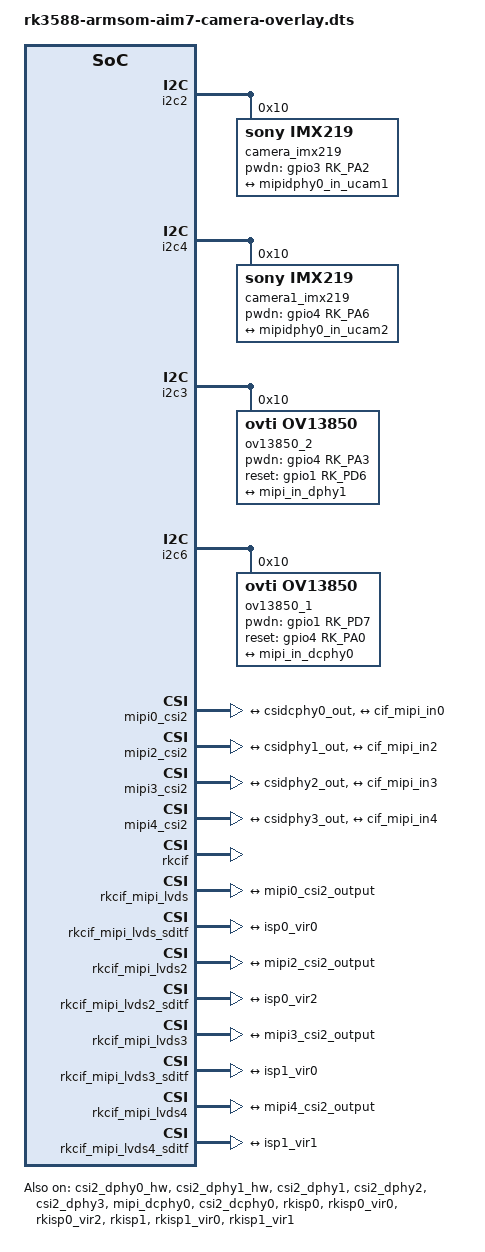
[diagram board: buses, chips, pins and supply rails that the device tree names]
/dts-v1/;
/plugin/;

#include <dt-bindings/clock/rk3588-cru.h>
#include <dt-bindings/power/rk3588-power.h>
#include <dt-bindings/gpio/gpio.h>
#include <dt-bindings/pinctrl/rockchip.h>

/ {
	fragment@0 {
		target = <&i2c2>;
		__overlay__ {
			status = "okay";
			#address-cells = <1>;
			#size-cells = <0>;
			camera_imx219: camera-imx219@10 {
				status = "okay";
				compatible = "sony,imx219";
				reg = <0x10>;
				clocks = <&cru CLK_MIPI_CAMARAOUT_M0>;
				clock-names = "xvclk";
				pinctrl-names = "rockchip,camera_default";
				pinctrl-0 = <&mipim1_camera0_clk>;//gpio3_a5
				// VANA-supply = <&camera_pwdn_gpio>;   /* 2.8v */
				// VDIG-supply = <&camera_pwdn_gpio>;   /* 1.8v */
				// VDDL-supply = <&camera_pwdn_gpio>;   /* 1.2v */

				power-domains = <&power RK3588_PD_VI>;
				pwdn-gpios = <&gpio3 RK_PA2 GPIO_ACTIVE_HIGH>;

				rockchip,camera-module-index = <0>;
				rockchip,camera-module-facing = "back";
				rockchip,camera-module-name = "RADXA-CAMERA-8M";
				rockchip,camera-module-lens-name = "default";

				port {
					imx219_out0: endpoint {
						remote-endpoint = <&mipidphy0_in_ucam1>;
						data-lanes = <1 2>;
						clock-noncontinuous;
						link-frequencies = /bits/ 64 <456000000>;
					};
				};
			};
		};
	};
	
	fragment@1 {
		target = <&i2c4>;
		__overlay__ {
			status = "okay";
			pinctrl-names = "default";
			pinctrl-0 = <&i2c4m2_xfer>;
			#address-cells = <1>;
			#size-cells = <0>;

			camera1_imx219: camera1-imx219@10 {
				status = "okay";
				compatible = "sony,imx219";
				reg = <0x10>;

				clocks = <&cru CLK_MIPI_CAMARAOUT_M1>;
				clock-names = "xvclk";
				pinctrl-names = "rockchip,camera_default";
				pinctrl-0 = <&mipim1_camera1_clk>;//gpio3_a6
				// VANA-supply = <&camera2_pwdn_gpio>;   /* 2.8v */
				// VDIG-supply = <&camera2_pwdn_gpio>;   /* 1.8v */
				// VDDL-supply = <&camera2_pwdn_gpio>;   /* 1.2v */
				power-domains = <&power RK3588_PD_VI>;
				pwdn-gpios = <&gpio4 RK_PA6 GPIO_ACTIVE_HIGH>;

				rockchip,camera-module-index = <1>;
				rockchip,camera-module-facing = "back";
				rockchip,camera-module-name = "RADXA-CAMERA-8M";
				rockchip,camera-module-lens-name = "default";

				port {
					imx219_out1: endpoint {
						remote-endpoint = <&mipidphy0_in_ucam2>;
						data-lanes = <1 2>;
						clock-noncontinuous;
						link-frequencies = /bits/ 64 <456000000>;
					};
				};
			};
		};
	};
	
	fragment@2 {
		target = <&i2c3>;
		__overlay__ {
			status = "okay";
			ov13850_2: ov13850_2@10 {
                #address-cells = <1>;
                #size-cells = <0>;
				status = "okay";
				compatible = "ovti,ov13850";
				reg = <0x10>;
				clocks = <&cru CLK_MIPI_CAMARAOUT_M3>;
				clock-names = "xvclk";
				pinctrl-names = "rockchip,camera_default";
				pinctrl-0 = <&mipim1_camera3_clk>;
				pwdn-gpios = <&gpio4 RK_PA3 GPIO_ACTIVE_HIGH>;
				reset-gpios = <&gpio1 RK_PD6 GPIO_ACTIVE_HIGH>;
				rockchip,camera-module-index = <3>;
				rockchip,camera-module-facing = "back";
				rockchip,camera-module-name = "ZC-OV13850R2A-V1";
				rockchip,camera-module-lens-name = "Largan-50064B31";
				port {
					ov13850_out1: endpoint {
						remote-endpoint = <&mipi_in_dphy1>;
						data-lanes = <1 2 3 4>;
					};
				};
			};
		};
	};
	
	fragment@3 {
		target = <&i2c6>;
		__overlay__ {
            #address-cells = <1>;
            #size-cells = <0>;
			status = "okay";
			pinctrl-names = "default";
			pinctrl-0 = <&i2c6m1_xfer>;
			ov13850_1: ov13850_1@10 {
				status = "okay";
				compatible = "ovti,ov13850";
				reg = <0x10>;
				clocks = <&cru CLK_MIPI_CAMARAOUT_M4>;
				clock-names = "xvclk";
				pinctrl-names = "rockchip,camera_default";
				pinctrl-0 = <&mipim1_camera4_clk>;//gpio3_a6
				pwdn-gpios = <&gpio1 RK_PD7 GPIO_ACTIVE_HIGH>;
				reset-gpios = <&gpio4 RK_PA0 GPIO_ACTIVE_HIGH>;
				rockchip,camera-module-index = <2>;
				rockchip,camera-module-facing = "back";
				rockchip,camera-module-name = "ZC-OV13850R2A-V1";
				rockchip,camera-module-lens-name = "Largan-50064B31";
				port {
					ov13850_out: endpoint {
						remote-endpoint = <&mipi_in_dcphy0>;
						data-lanes = <1 2 3 4>;
					};
				};
			};
		};
	};
	
	fragment@4 {
		target = <&csi2_dphy0_hw>;

		__overlay__ {
			status = "okay";
		};
	};
	
	fragment@5 {
		target = <&csi2_dphy1_hw>;

		__overlay__ {
			status = "okay";
		};
	};
	
	fragment@6 {
		target = <&csi2_dphy1>;

		__overlay__ {
			status = "okay";
			ports {
				#address-cells = <1>;
				#size-cells = <0>;

				port@0 {
					reg = <0>;
					#address-cells = <1>;
					#size-cells = <0>;

					mipidphy0_in_ucam1: endpoint@1 {
						reg = <1>;
						remote-endpoint = <&imx219_out0>;
						data-lanes = <1 2>;
					};
				};

				port@1 {
					reg = <1>;
					#address-cells = <1>;
					#size-cells = <0>;

					csidphy1_out: endpoint@0 {
						reg = <0>;
						remote-endpoint = <&mipi2_csi2_input>;
					};
				};
			};
		};
	};
	
	fragment@7 {
		target = <&csi2_dphy2>;

		__overlay__ {
			status = "okay";
			ports {
				#address-cells = <1>;
				#size-cells = <0>;

				port@0 {
					reg = <0>;
					#address-cells = <1>;
					#size-cells = <0>;

					mipidphy0_in_ucam2: endpoint@1 {
						reg = <1>;
						remote-endpoint = <&imx219_out1>;
						data-lanes = <1 2>;
					};
				};

				port@1 {
					reg = <1>;
					#address-cells = <1>;
					#size-cells = <0>;

					csidphy2_out: endpoint@0 {
						reg = <0>;
						remote-endpoint = <&mipi3_csi2_input>;
					};
				};
			};
		};
	};
	
	fragment@8 {
		target = <&csi2_dphy3>;

		__overlay__ {
			status = "okay";
			ports {
				#address-cells = <1>;
				#size-cells = <0>;

				port@0 {
					reg = <0>;
					#address-cells = <1>;
					#size-cells = <0>;

					mipi_in_dphy1: endpoint@1 {
						reg = <1>;
						remote-endpoint = <&ov13850_out1>;
						data-lanes = <1 2 3 4>;
					};

				};

				port@1 {
					reg = <1>;
					#address-cells = <1>;
					#size-cells = <0>;

					csidphy3_out: endpoint@0 {
						reg = <0>;
						remote-endpoint = <&mipi4_csi2_input>;
					};
				};
			};
		};
	};
	
	fragment@9 {
		target = <&mipi_dcphy0>;

		__overlay__ {
			status = "okay";
			
		};
	};
	
	fragment@10 {
		target = <&csi2_dcphy0>;

		__overlay__ {
			status = "okay";
			ports {
				#address-cells = <1>;
				#size-cells = <0>;
				port@0 {
					reg = <0>;
					#address-cells = <1>;
					#size-cells = <0>;

					mipi_in_dcphy0: endpoint@1 {
						reg = <1>;
						remote-endpoint = <&ov13850_out>;
						data-lanes = <1 2 3 4>;
					};
				};
				port@1 {
					reg = <1>;
					#address-cells = <1>;
					#size-cells = <0>;

					csidcphy0_out: endpoint@0 {
						reg = <0>;
						remote-endpoint = <&mipi1_csi2_input>;
					};
				};
			};
		};
	};
	
	fragment@11 {
		target = <&mipi0_csi2>;

		__overlay__ {
			status = "okay";
			ports {
				#address-cells = <1>;
				#size-cells = <0>;

				port@0 {
					reg = <0>;
					#address-cells = <1>;
					#size-cells = <0>;

					mipi1_csi2_input: endpoint@1 {
						reg = <1>;
						remote-endpoint = <&csidcphy0_out>;
					};
				};

				port@1 {
					reg = <1>;
					#address-cells = <1>;
					#size-cells = <0>;

					mipi0_csi2_output: endpoint@0 {
						reg = <0>;
						remote-endpoint = <&cif_mipi_in0>;
					};
				};
			};
		};
	};
	
	fragment@12 {
		target = <&mipi2_csi2>;

		__overlay__ {
			status = "okay";
			ports {
				#address-cells = <1>;
				#size-cells = <0>;

				port@0 {
					reg = <0>;
					#address-cells = <1>;
					#size-cells = <0>;

					mipi2_csi2_input: endpoint@1 {
						reg = <1>;
						remote-endpoint = <&csidphy1_out>;
					};
				};

				port@1 {
					reg = <1>;
					#address-cells = <1>;
					#size-cells = <0>;

					mipi2_csi2_output: endpoint@0 {
						reg = <0>;
						remote-endpoint = <&cif_mipi_in2>;
					};
				};
			};
		};
	};
	
	fragment@13 {
		target = <&mipi3_csi2>;

		__overlay__ {
			status = "okay";
			ports {
				#address-cells = <1>;
				#size-cells = <0>;

				port@0 {
					reg = <0>;
					#address-cells = <1>;
					#size-cells = <0>;

					mipi3_csi2_input: endpoint@1 {
						reg = <1>;
						remote-endpoint = <&csidphy2_out>;
					};
				};

				port@1 {
					reg = <1>;
					#address-cells = <1>;
					#size-cells = <0>;

					mipi3_csi2_output: endpoint@0 {
						reg = <0>;
						remote-endpoint = <&cif_mipi_in3>;
					};
				};
			};
		};
	};
	
	fragment@14 {
		target = <&mipi4_csi2>;

		__overlay__ {
			status = "okay";
			ports {
				#address-cells = <1>;
				#size-cells = <0>;

				port@0 {
					reg = <0>;
					#address-cells = <1>;
					#size-cells = <0>;

					mipi4_csi2_input: endpoint@1 {
						reg = <1>;
						remote-endpoint = <&csidphy3_out>;
					};
				};

				port@1 {
					reg = <1>;
					#address-cells = <1>;
					#size-cells = <0>;

					mipi4_csi2_output: endpoint@0 {
						reg = <0>;
						remote-endpoint = <&cif_mipi_in4>;
					};
				};
			};
		};
	};
	
	fragment@15 {
		target = <&rkcif>;

		__overlay__ {
			status = "okay";
		};
	};
	
	fragment@16 {
		target = <&rkcif_mipi_lvds>;

		__overlay__ {
			status = "okay";
			port {
				cif_mipi_in0: endpoint {
					remote-endpoint = <&mipi0_csi2_output>;
				};
			};
		};
	};
	
	fragment@17 {
		target = <&rkcif_mipi_lvds_sditf>;

		__overlay__ {
			status = "okay";
			port {
				mipi_lvds_sditf: endpoint {
					remote-endpoint = <&isp0_vir0>;
				};
			};
		};
	};
	
	fragment@18 {
		target = <&rkcif_mipi_lvds2>;

		__overlay__ {
			status = "okay";
			port {
				cif_mipi_in2: endpoint {
					remote-endpoint = <&mipi2_csi2_output>;
				};
			};
		};
	};
	
	fragment@19 {
		target = <&rkcif_mipi_lvds2_sditf>;

		__overlay__ {
			status = "okay";
			port {
				mipi2_lvds_sditf: endpoint {
					remote-endpoint = <&isp0_vir2>;
				};
			};
		};
	};
	
	fragment@20 {
		target = <&rkcif_mipi_lvds3>;

		__overlay__ {
			status = "okay";
			port {
				cif_mipi_in3: endpoint {
					remote-endpoint = <&mipi3_csi2_output>;
				};
			};
		};
	};
	
	fragment@21{
		target = <&rkcif_mipi_lvds3_sditf>;

		__overlay__ {
			status = "okay";
			port {
				mipi3_lvds_sditf: endpoint {
					remote-endpoint = <&isp1_vir0>;
				};
			};
		};
	};
	
	fragment@22{
		target = <&rkcif_mipi_lvds4>;

		__overlay__ {
			status = "okay";
			port {
				cif_mipi_in4: endpoint {
					remote-endpoint = <&mipi4_csi2_output>;
				};
			};
		};
	};
	
	fragment@23{
		target = <&rkcif_mipi_lvds4_sditf>;

		__overlay__ {
			status = "okay";
			port {
				mipi4_lvds_sditf: endpoint {
					remote-endpoint = <&isp1_vir1>;
				};
			};
		};
	};
	
	fragment@24{
		target = <&rkcif_mmu>;

		__overlay__ {
			status = "okay";
		};
	};
	
	fragment@25{
		target = <&rkisp0>;

		__overlay__ {
			status = "okay";
		};
	};
	
	fragment@26{
		target = <&isp0_mmu>;

		__overlay__ {
			status = "okay";
		};
	};
	
	fragment@27{
		target = <&rkisp0_vir0>;

		__overlay__ {
			status = "okay";
			port {
				#address-cells = <1>;
				#size-cells = <0>;

				isp0_vir0: endpoint@0 {
					reg = <0>;
					remote-endpoint = <&mipi_lvds_sditf>;
				};
			};
		};
	};
	
	fragment@28{
		target = <&rkisp0_vir2>;

		__overlay__ {
			status = "okay";
			port {
				#address-cells = <1>;
				#size-cells = <0>;

				isp0_vir2: endpoint@0 {
					reg = <0>;
					remote-endpoint = <&mipi2_lvds_sditf>;
				};
			};
		};
	};
	
	fragment@29{
		target = <&rkisp1>;

		__overlay__ {
			status = "okay";
		};
	};
	
	fragment@30{
		target = <&isp1_mmu>;

		__overlay__ {
			status = "okay";
		};
	};
	
	fragment@31{
		target = <&rkisp1_vir0>;

		__overlay__ {
			status = "okay";
			port {
				#address-cells = <1>;
				#size-cells = <0>;

				isp1_vir0: endpoint@0 {
					reg = <0>;
					remote-endpoint = <&mipi3_lvds_sditf>;
				};
			};
		};
	};
	
	fragment@32{
		target = <&rkisp1_vir1>;

		__overlay__ {
			status = "okay";
			port {
				#address-cells = <1>;
				#size-cells = <0>;

				isp1_vir1: endpoint@0 {
					reg = <0>;
					remote-endpoint = <&mipi4_lvds_sditf>;
				};
			};
		};
	};
	
	fragment@33 {
		target = <&pinctrl>;
		__overlay__ {
			camera {
				cam_pwdn_gpio: cam-pwdn-gpio {
					rockchip,pins = <3 RK_PA2 RK_FUNC_GPIO &pcfg_pull_up>;
				};
				cam2_pwdn_gpio: cam2-pwdn-gpio {
					rockchip,pins = <4 RK_PA6 RK_FUNC_GPIO &pcfg_pull_up>;
				};	
			};
		};
	};
};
